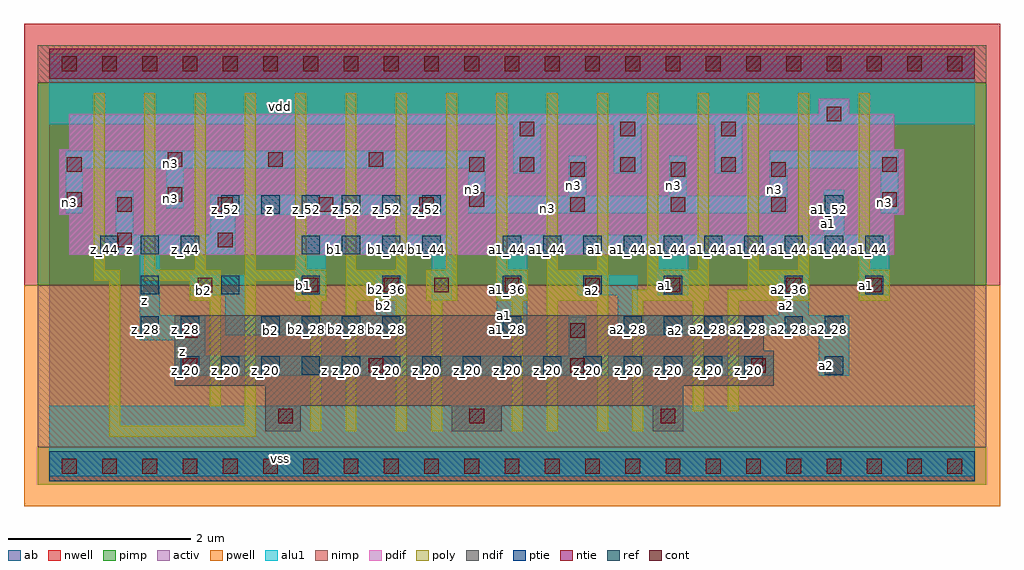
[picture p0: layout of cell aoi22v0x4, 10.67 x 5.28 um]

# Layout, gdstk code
import gdstk
lib = gdstk.Library(unit=1e-6, precision=2.5e-09)
def R(c, l, rs):  # rectangles x0, y0, x1, y1
    for r in rs: c.add(gdstk.rectangle(r[:2], r[2:], *l))
def A(c, l, x, y, w, h, nx, ny, dx, dy):  # array of equal rectangles
    R(c, l, [(x+i*dx, y+j*dy, x+i*dx+w, y+j*dy+h) for i in range(nx) for j in range(ny)])
ndif = (3, 0)
pdif = (4, 0)
ntie = (5, 0)
ptie = (6, 0)
ref = (24, 0)
cont = (25, 0)
pwell = (41, 0)
nwell = (42, 0)
activ = (43, 0)
pimp = (44, 0)
nimp = (45, 0)
poly = (46, 0)
alu1 = (49, 0)
ab = (63, 0)

aoi22v0x4 = lib.new_cell('aoi22v0x4')
R(aoi22v0x4, ndif, [(2.365,0.385,2.75,0.66), (4.4,0.385,4.95,0.66), (6.6,0.385,6.93,0.66), (2.365,0.66,6.93,0.88), (1.375,0.88,7.92,1.265), (1.375,1.265,7.81,1.65)])
R(aoi22v0x4, pdif, [(0.22,2.31,9.24,2.75), (0.11,2.75,9.35,3.465), (0.22,3.465,9.24,3.85), (8.415,3.85,8.745,4.015)])
R(aoi22v0x4, ntie, [(0,4.235,10.12,4.565)])
R(aoi22v0x4, ptie, [(0,-0.165,10.12,0.165)])
A(aoi22v0x4, ref, 1.44, 1, 0.2, 0.2, 15, 1, 0.44, 0)
A(aoi22v0x4, ref, 2.32, 1.44, 0.2, 0.2, 4, 1, 0.44, 0)
A(aoi22v0x4, ref, 6.28, 1.44, 0.2, 0.2, 6, 1, 0.44, 0)
A(aoi22v0x4, ref, 1, 1.88, 0.2, 0.2, 4, 1, 0.88, 0)
A(aoi22v0x4, ref, 4.96, 1.88, 0.2, 0.2, 3, 1, 0.88, 0)
A(aoi22v0x4, ref, 0.56, 2.32, 0.2, 0.2, 3, 1, 0.44, 0)
A(aoi22v0x4, ref, 2.76, 2.32, 0.2, 0.2, 4, 1, 0.44, 0)
A(aoi22v0x4, ref, 4.96, 2.32, 0.2, 0.2, 10, 1, 0.44, 0)
A(aoi22v0x4, ref, 1.88, 2.76, 0.2, 0.2, 6, 1, 0.44, 0)
R(aoi22v0x4, ref, [(8.48,1,8.68,1.2), (1,1.44,1.2,1.64), (1.44,1.44,1.64,1.64), (4.96,1.44,5.16,1.64), (8.04,1.88,8.24,2.08), (8.92,1.88,9.12,2.08), (8.48,2.76,8.68,2.96)])
A(aoi22v0x4, cont, 0.14, -0.08, 0.16, 0.16, 23, 2, 0.44, 4.4)
A(aoi22v0x4, cont, 2.505, 0.47, 0.16, 0.16, 3, 1, 2.09, 0)
A(aoi22v0x4, cont, 4.98, 1.9, 0.16, 0.16, 3, 1, 0.88, 0)
A(aoi22v0x4, cont, 0.745, 2.78, 0.16, 0.16, 4, 1, 1.1, 0)
A(aoi22v0x4, cont, 5.695, 2.78, 0.16, 0.16, 3, 2, 1.1, 0.385)
A(aoi22v0x4, cont, 5.145, 3.22, 0.16, 0.16, 3, 2, 1.1, 0.385)
A(aoi22v0x4, cont, 1.295, 3.275, 0.16, 0.16, 3, 1, 1.1, 0)
R(aoi22v0x4, cont, [(1.46,1.02,1.62,1.18), (3.495,1.02,3.655,1.18), (5.695,1.02,5.855,1.18), (7.675,1.02,7.835,1.18), (1.46,1.405,1.62,1.565), (5.695,1.405,5.855,1.565), (1.625,1.9,1.785,2.06), (2.78,1.9,2.94,2.06), (3.66,1.9,3.82,2.06), (4.21,1.9,4.37,2.06), (8.06,1.9,8.22,2.06), (8.94,1.9,9.1,2.06), (0.745,2.395,0.905,2.555), (1.845,2.395,2.005,2.555), (0.195,2.835,0.355,2.995), (4.595,2.835,4.755,2.995), (9.105,2.835,9.265,2.995), (1.295,2.89,1.455,3.05), (0.195,3.22,0.355,3.38), (4.595,3.22,4.755,3.38), (9.105,3.22,9.265,3.38), (8.5,3.77,8.66,3.93)])
R(aoi22v0x4, pwell, [(-0.275,-0.44,10.395,1.98)])
R(aoi22v0x4, nwell, [(-0.275,1.98,10.395,4.84)])
R(aoi22v0x4, activ, [(0,-0.165,10.12,0.165), (2.365,0.385,2.75,0.66), (4.4,0.385,4.95,0.66), (6.6,0.385,6.93,0.66), (2.365,0.66,6.93,0.88), (1.375,0.88,7.92,1.265), (1.375,1.265,7.81,1.65), (0.22,2.31,9.24,2.75), (0.11,2.75,9.35,3.465), (0.22,3.465,9.24,3.85), (8.415,3.85,8.745,4.015), (0,4.235,10.12,4.565)])
R(aoi22v0x4, pimp, [(-0.125,-0.205,10.245,0.205), (-0.125,1.98,10.245,4.195)])
R(aoi22v0x4, nimp, [(-0.125,0.205,10.245,1.98), (-0.125,4.195,10.245,4.605)])
A(aoi22v0x4, poly, 0.49, 2.15, 0.12, 1.925, 15, 1, 0.55, 0)
R(aoi22v0x4, poly, [(0.655,0.325,2.26,0.445), (2.855,0.38,2.975,1.81), (3.24,0.38,3.36,1.81), (3.79,0.38,3.91,1.81), (4.175,0.38,4.295,1.81), (5.055,0.38,5.175,1.81), (5.44,0.38,5.56,1.81), (5.99,0.38,6.11,1.81), (6.375,0.38,6.495,1.81), (0.655,0.445,0.775,2.03), (2.14,0.445,2.26,2.03), (7.035,0.6,7.155,1.81), (7.42,0.6,7.54,1.81), (1.755,0.655,1.875,1.81), (1.535,1.81,1.875,2.03), (2.69,1.81,3.03,2.03), (3.24,1.81,3.91,2.15), (4.12,1.81,4.46,2.15), (4.89,1.81,5.23,2.15), (5.44,1.81,6.11,2.15), (6.375,1.81,7.21,1.93), (7.42,1.81,8.31,1.93), (8.85,1.81,9.19,2.15), (6.54,1.93,7.21,2.15), (7.64,1.93,8.31,2.15), (0.49,2.03,0.775,2.15), (1.04,2.03,1.875,2.15), (2.14,2.03,3.03,2.15), (8.85,2.15,8.97,4.075)])
A(aoi22v0x4, alu1, 5.075, 3.205, 0.3, 0.535, 3, 1, 1.1, 0)
R(aoi22v0x4, alu1, [(0,-0.11,10.12,0.66), (1.375,0.99,7.92,1.21), (8.415,0.99,8.745,1.43), (1.375,1.21,1.705,1.375), (5.68,1.21,5.87,1.635), (0.99,1.375,1.705,1.65), (1.925,1.43,3.905,1.65), (4.895,1.43,5.225,2.31), (6.215,1.43,8.745,1.65), (0.99,1.65,1.21,2.31), (1.925,1.65,2.145,1.87), (3.575,1.65,3.905,2.09), (6.215,1.65,6.435,1.87), (7.975,1.65,8.305,2.09), (4.18,1.815,4.4,2.31), (1.54,1.87,2.145,2.09), (2.695,1.87,3.025,2.31), (5.775,1.87,6.435,2.09), (6.655,1.87,6.985,2.31), (8.855,1.87,9.185,2.31), (0.495,2.31,2.035,2.53), (2.695,2.31,4.4,2.53), (4.895,2.31,9.185,2.53), (0.73,2.53,0.92,3.01), (1.76,2.53,2.035,2.75), (8.47,2.53,8.69,3.025), (1.76,2.75,4.345,2.97), (0.18,2.765,0.37,3.26), (4.58,2.765,8.07,2.955), (9.09,2.765,9.28,3.26), (1.28,2.82,1.47,3.26), (4.58,2.955,4.77,3.26), (5.68,2.955,5.87,3.395), (6.78,2.955,6.97,3.395), (7.88,2.955,8.07,3.26), (0.18,3.26,4.77,3.45), (7.88,3.26,9.28,3.45), (0,3.74,10.12,4.51)])
R(aoi22v0x4, ab, [(0,0,10.12,4.4)])
aoi22v0x4.add(gdstk.Label('vss', (2.53,0.0825), layer=49, texttype=0))
aoi22v0x4.add(gdstk.Label('a2', (8.4975,1.1), layer=49, texttype=0))
aoi22v0x4.add(gdstk.Label('z', (3.01,1.045), layer=49, texttype=0))
aoi22v0x4.add(gdstk.Label('a2', (6.8475,1.485), layer=49, texttype=0))
aoi22v0x4.add(gdstk.Label('z', (1.4575,1.25), layer=49, texttype=0))
aoi22v0x4.add(gdstk.Label('a1', (8.9375,1.98), layer=49, texttype=0))
aoi22v0x4.add(gdstk.Label('a2', (8.0575,1.76), layer=49, texttype=0))
aoi22v0x4.add(gdstk.Label('a1', (6.7375,1.98), layer=49, texttype=0))
aoi22v0x4.add(gdstk.Label('a2', (5.94,1.925), layer=49, texttype=0))
aoi22v0x4.add(gdstk.Label('a1', (4.9775,1.65), layer=49, texttype=0))
aoi22v0x4.add(gdstk.Label('b2', (2.42,1.485), layer=49, texttype=0))
aoi22v0x4.add(gdstk.Label('a1', (5.9675,2.365), layer=49, texttype=0))
aoi22v0x4.add(gdstk.Label('b2', (3.6575,1.76), layer=49, texttype=0))
aoi22v0x4.add(gdstk.Label('b1', (2.7775,1.98), layer=49, texttype=0))
aoi22v0x4.add(gdstk.Label('b2', (1.69,1.925), layer=49, texttype=0))
aoi22v0x4.add(gdstk.Label('z', (1.045,1.815), layer=49, texttype=0))
aoi22v0x4.add(gdstk.Label('b1', (3.12,2.365), layer=49, texttype=0))
aoi22v0x4.add(gdstk.Label('z', (0.88,2.365), layer=49, texttype=0))
aoi22v0x4.add(gdstk.Label('n3', (9.1375,2.8875), layer=49, texttype=0))
aoi22v0x4.add(gdstk.Label('a1', (8.525,2.6525), layer=49, texttype=0))
aoi22v0x4.add(gdstk.Label('n3', (5.4525,2.8125), layer=49, texttype=0))
aoi22v0x4.add(gdstk.Label('n3', (7.9275,3.03), layer=49, texttype=0))
aoi22v0x4.add(gdstk.Label('n3', (6.8275,3.065), layer=49, texttype=0))
aoi22v0x4.add(gdstk.Label('n3', (5.7275,3.065), layer=49, texttype=0))
aoi22v0x4.add(gdstk.Label('n3', (4.6275,3.03), layer=49, texttype=0))
aoi22v0x4.add(gdstk.Label('z', (2.405,2.805), layer=49, texttype=0))
aoi22v0x4.add(gdstk.Label('n3', (1.3275,2.93), layer=49, texttype=0))
aoi22v0x4.add(gdstk.Label('n3', (0.2275,2.8875), layer=49, texttype=0))
aoi22v0x4.add(gdstk.Label('n3', (1.3275,3.3075), layer=49, texttype=0))
aoi22v0x4.add(gdstk.Label('vdd', (2.53,3.9325), layer=49, texttype=0))
aoi22v0x4.add(gdstk.Label('z_20', (5.45,1.05), layer=24, texttype=0))
aoi22v0x4.add(gdstk.Label('a1_44', (5.45,2.37), layer=24, texttype=0))
aoi22v0x4.add(gdstk.Label('z_20', (5.89,1.05), layer=24, texttype=0))
aoi22v0x4.add(gdstk.Label('a2_36', (5.89,1.93), layer=24, texttype=0))
aoi22v0x4.add(gdstk.Label('a1_44', (5.89,2.37), layer=24, texttype=0))
aoi22v0x4.add(gdstk.Label('z_20', (6.33,1.05), layer=24, texttype=0))
aoi22v0x4.add(gdstk.Label('a2_28', (6.33,1.49), layer=24, texttype=0))
aoi22v0x4.add(gdstk.Label('a1_44', (6.33,2.37), layer=24, texttype=0))
aoi22v0x4.add(gdstk.Label('z_44', (0.61,2.37), layer=24, texttype=0))
aoi22v0x4.add(gdstk.Label('z_20', (6.77,1.05), layer=24, texttype=0))
aoi22v0x4.add(gdstk.Label('a2_28', (6.77,1.49), layer=24, texttype=0))
aoi22v0x4.add(gdstk.Label('a1_36', (6.77,1.93), layer=24, texttype=0))
aoi22v0x4.add(gdstk.Label('a1_44', (6.77,2.37), layer=24, texttype=0))
aoi22v0x4.add(gdstk.Label('z_20', (7.21,1.05), layer=24, texttype=0))
aoi22v0x4.add(gdstk.Label('a2_28', (7.21,1.49), layer=24, texttype=0))
aoi22v0x4.add(gdstk.Label('a1_44', (7.21,2.37), layer=24, texttype=0))
aoi22v0x4.add(gdstk.Label('z_20', (7.65,1.05), layer=24, texttype=0))
aoi22v0x4.add(gdstk.Label('a2_28', (7.65,1.49), layer=24, texttype=0))
aoi22v0x4.add(gdstk.Label('a1_44', (7.65,2.37), layer=24, texttype=0))
aoi22v0x4.add(gdstk.Label('a2_28', (8.09,1.49), layer=24, texttype=0))
aoi22v0x4.add(gdstk.Label('a2_36', (8.09,1.93), layer=24, texttype=0))
aoi22v0x4.add(gdstk.Label('a1_44', (8.09,2.37), layer=24, texttype=0))
aoi22v0x4.add(gdstk.Label('a2_20', (8.53,1.05), layer=24, texttype=0))
aoi22v0x4.add(gdstk.Label('a2_28', (8.53,1.49), layer=24, texttype=0))
aoi22v0x4.add(gdstk.Label('a1_44', (8.53,2.37), layer=24, texttype=0))
aoi22v0x4.add(gdstk.Label('a1_52', (8.53,2.81), layer=24, texttype=0))
aoi22v0x4.add(gdstk.Label('a1_36', (8.97,1.93), layer=24, texttype=0))
aoi22v0x4.add(gdstk.Label('a1_44', (8.97,2.37), layer=24, texttype=0))
aoi22v0x4.add(gdstk.Label('z_28', (1.05,1.49), layer=24, texttype=0))
aoi22v0x4.add(gdstk.Label('z_36', (1.05,1.93), layer=24, texttype=0))
aoi22v0x4.add(gdstk.Label('z_44', (1.05,2.37), layer=24, texttype=0))
aoi22v0x4.add(gdstk.Label('z_20', (1.49,1.05), layer=24, texttype=0))
aoi22v0x4.add(gdstk.Label('z_28', (1.49,1.49), layer=24, texttype=0))
aoi22v0x4.add(gdstk.Label('z_44', (1.49,2.37), layer=24, texttype=0))
aoi22v0x4.add(gdstk.Label('z_20', (1.93,1.05), layer=24, texttype=0))
aoi22v0x4.add(gdstk.Label('b2_36', (1.93,1.93), layer=24, texttype=0))
aoi22v0x4.add(gdstk.Label('z_52', (1.93,2.81), layer=24, texttype=0))
aoi22v0x4.add(gdstk.Label('z_20', (2.37,1.05), layer=24, texttype=0))
aoi22v0x4.add(gdstk.Label('b2_28', (2.37,1.49), layer=24, texttype=0))
aoi22v0x4.add(gdstk.Label('z_52', (2.37,2.81), layer=24, texttype=0))
aoi22v0x4.add(gdstk.Label('z_20', (2.81,1.05), layer=24, texttype=0))
aoi22v0x4.add(gdstk.Label('b2_28', (2.81,1.49), layer=24, texttype=0))
aoi22v0x4.add(gdstk.Label('b1_36', (2.81,1.93), layer=24, texttype=0))
aoi22v0x4.add(gdstk.Label('b1_44', (2.81,2.37), layer=24, texttype=0))
aoi22v0x4.add(gdstk.Label('z_52', (2.81,2.81), layer=24, texttype=0))
aoi22v0x4.add(gdstk.Label('z_20', (3.25,1.05), layer=24, texttype=0))
aoi22v0x4.add(gdstk.Label('b2_28', (3.25,1.49), layer=24, texttype=0))
aoi22v0x4.add(gdstk.Label('b1_44', (3.25,2.37), layer=24, texttype=0))
aoi22v0x4.add(gdstk.Label('z_52', (3.25,2.81), layer=24, texttype=0))
aoi22v0x4.add(gdstk.Label('z_20', (3.69,1.05), layer=24, texttype=0))
aoi22v0x4.add(gdstk.Label('b2_28', (3.69,1.49), layer=24, texttype=0))
aoi22v0x4.add(gdstk.Label('b2_36', (3.69,1.93), layer=24, texttype=0))
aoi22v0x4.add(gdstk.Label('b1_44', (3.69,2.37), layer=24, texttype=0))
aoi22v0x4.add(gdstk.Label('z_52', (3.69,2.81), layer=24, texttype=0))
aoi22v0x4.add(gdstk.Label('z_20', (4.13,1.05), layer=24, texttype=0))
aoi22v0x4.add(gdstk.Label('b1_44', (4.13,2.37), layer=24, texttype=0))
aoi22v0x4.add(gdstk.Label('z_52', (4.13,2.81), layer=24, texttype=0))
aoi22v0x4.add(gdstk.Label('z_20', (4.57,1.05), layer=24, texttype=0))
aoi22v0x4.add(gdstk.Label('z_20', (5.01,1.05), layer=24, texttype=0))
aoi22v0x4.add(gdstk.Label('a1_28', (5.01,1.49), layer=24, texttype=0))
aoi22v0x4.add(gdstk.Label('a1_36', (5.01,1.93), layer=24, texttype=0))
aoi22v0x4.add(gdstk.Label('a1_44', (5.01,2.37), layer=24, texttype=0))

lib.write_gds('aoi22v0x4.gds')
